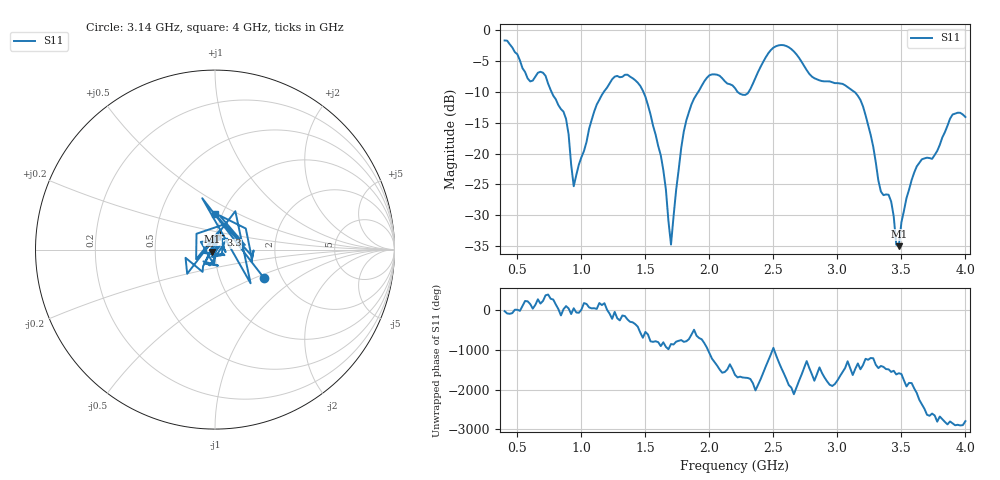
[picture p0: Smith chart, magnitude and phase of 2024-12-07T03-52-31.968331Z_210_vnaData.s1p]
!Created with skrf (http://scikit-rf.org).
# Hz S RI R 50.0
!freq ReS11 ImS11
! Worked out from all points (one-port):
!   181 points, 400 MHz to 4 GHz, reference 50 ohm
!   lowest |S11| = -35.0 dB at 3.48 GHz (marker M1), VSWR 1.04, Z = 48.6 - j1.06 ohm
!   |S11| at or under -10 dB: 767.3 MHz to 1.174 GHz (407.1 MHz wide, 41.9 % of centre); 1.485 GHz to 1.912 GHz (427.2 MHz wide, 25.2 % of centre); 3.134 GHz to end of sweep (the widest 3 of 4)
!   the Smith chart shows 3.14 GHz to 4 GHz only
!   S11 on the Smith chart (normalised r, x): 3.14 GHz: 1.62, -0.56; 3.3 GHz: 1.05, +0.17; 4 GHz: 0.92, +0.38
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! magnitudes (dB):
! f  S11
! 400 MHz  -1.6
! 600 MHz  -8.3
! 700 MHz  -6.9
! 860 MHz  -13.2
! 900 MHz  -16.9
! 940 MHz  -25.3
! 1.12 GHz  -12.0
! 1.3 GHz  -7.6
! 1.5 GHz  -10.8
! 1.62 GHz  -20.3
! 1.7 GHz  -34.8
! 1.76 GHz  -22.6
! 1.82 GHz  -14.6
! 1.96 GHz  -8.3
! 2.2 GHz  -9.4
! 2.3 GHz  -10.2
! 2.5 GHz  -2.8
! 2.66 GHz  -3.4
! 3.1 GHz  -9.5
! 3.14 GHz  -10.1
! 3.3 GHz  -21.4
! 3.34 GHz  -26.2
! 3.42 GHz  -27.8
! 3.46 GHz  -34.8
! 3.48 GHz  -35.0
! 3.56 GHz  -25.8
! 3.9 GHz  -13.6
! 4 GHz  -14.1
